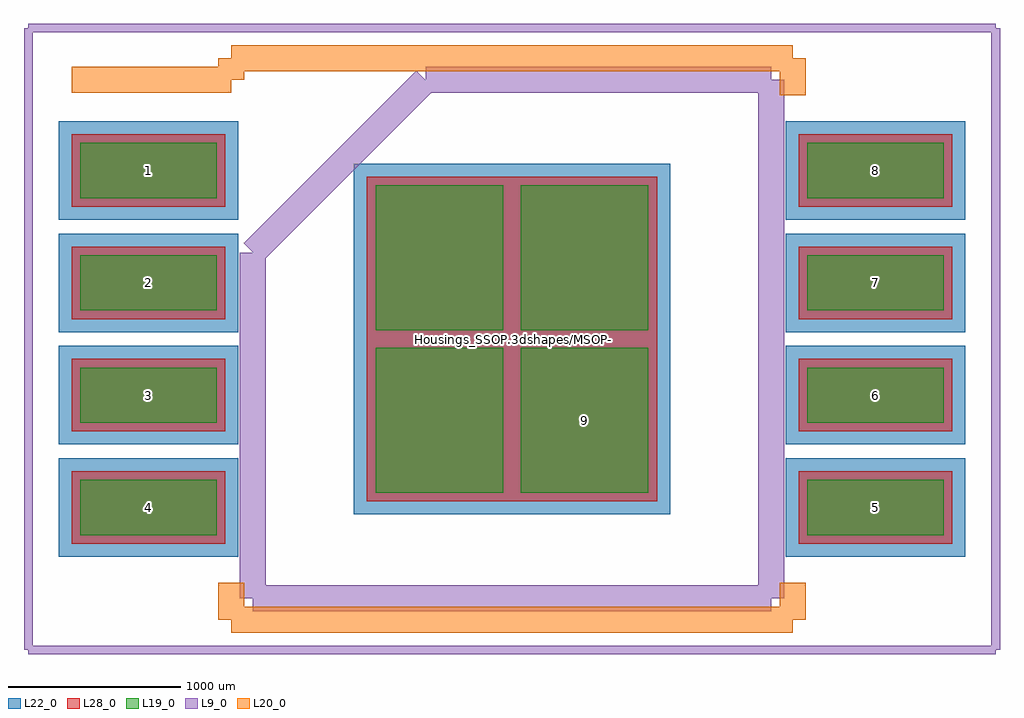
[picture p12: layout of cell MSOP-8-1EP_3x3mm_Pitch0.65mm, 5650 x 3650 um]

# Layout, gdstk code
import gdstk
lib = gdstk.Library(unit=1e-6, precision=1e-09)
def R(c, l, rs):  # rectangles x0, y0, x1, y1
    for r in rs: c.add(gdstk.rectangle(r[:2], r[2:], *l))
def A(c, l, x, y, w, h, nx, ny, dx, dy):  # array of equal rectangles
    R(c, l, [(x+i*dx, y+j*dy, x+i*dx+w, y+j*dy+h) for i in range(nx) for j in range(ny)])
L9_0 = (9, 0)
L19_0 = (19, 0)
L20_0 = (20, 0)
L22_0 = (22, 0)
L28_0 = (28, 0)

msop_8_1ep_3x3mm_pitch0_ = lib.new_cell('MSOP-8-1EP_3x3mm_Pitch0.65mm')
A(msop_8_1ep_3x3mm_pitch0_, L19_0, -2500, -1135, 790, 320, 1, 4, 0, 650)
A(msop_8_1ep_3x3mm_pitch0_, L19_0, 1710, -1135, 790, 320, 1, 4, 0, 650)
R(msop_8_1ep_3x3mm_pitch0_, L19_0, [(-790,-890,-50,-50), (50,-890,790,-50), (-790,50,-50,890), (50,50,790,890)])
A(msop_8_1ep_3x3mm_pitch0_, L22_0, -2625, -1260, 1040, 570, 1, 4, 0, 650)
A(msop_8_1ep_3x3mm_pitch0_, L22_0, 1585, -1260, 1040, 570, 1, 4, 0, 650)
R(msop_8_1ep_3x3mm_pitch0_, L22_0, [(-915,-1015,75,75), (-75,-1015,915,75), (-915,-75,75,1015), (-75,-75,915,1015)])
A(msop_8_1ep_3x3mm_pitch0_, L28_0, -2550, -1185, 890, 420, 1, 4, 0, 650)
A(msop_8_1ep_3x3mm_pitch0_, L28_0, 1660, -1185, 890, 420, 1, 4, 0, 650)
R(msop_8_1ep_3x3mm_pitch0_, L28_0, [(-840,-940,0,0), (0,-940,840,0), (-840,0,0,940), (0,0,840,940)])
msop_8_1ep_3x3mm_pitch0_.add(gdstk.FlexPath([(-1625,1500),(-2550,1500)], 149.998, ends="flush", simple_path=True, layer=20, datatype=0))  # L20_0
msop_8_1ep_3x3mm_pitch0_.add(gdstk.FlexPath([(-1625,-1625),(1625,-1625)], 149.998, ends="flush", simple_path=True, layer=20, datatype=0))  # L20_0
msop_8_1ep_3x3mm_pitch0_.add(gdstk.FlexPath([(-1625,1625),(1625,1625)], 149.998, ends="flush", simple_path=True, layer=20, datatype=0))  # L20_0
msop_8_1ep_3x3mm_pitch0_.add(gdstk.FlexPath([(-1625,-1625),(-1625,-1410)], 149.998, ends="flush", simple_path=True, layer=20, datatype=0))  # L20_0
msop_8_1ep_3x3mm_pitch0_.add(gdstk.FlexPath([(1625,-1625),(1625,-1410)], 149.998, ends="flush", simple_path=True, layer=20, datatype=0))  # L20_0
msop_8_1ep_3x3mm_pitch0_.add(gdstk.FlexPath([(1625,1625),(1625,1410)], 149.998, ends="flush", simple_path=True, layer=20, datatype=0))  # L20_0
msop_8_1ep_3x3mm_pitch0_.add(gdstk.FlexPath([(-1625,1625),(-1625,1500)], 149.998, ends="flush", simple_path=True, layer=20, datatype=0))  # L20_0
msop_8_1ep_3x3mm_pitch0_.add(gdstk.FlexPath([(-2800,-1800),(2800,-1800)], 50, ends="flush", simple_path=True, layer=9, datatype=0))  # L9_0
msop_8_1ep_3x3mm_pitch0_.add(gdstk.FlexPath([(-2800,1800),(2800,1800)], 50, ends="flush", simple_path=True, layer=9, datatype=0))  # L9_0
msop_8_1ep_3x3mm_pitch0_.add(gdstk.FlexPath([(2800,1800),(2800,-1800)], 50, ends="flush", simple_path=True, layer=9, datatype=0))  # L9_0
msop_8_1ep_3x3mm_pitch0_.add(gdstk.FlexPath([(-2800,1800),(-2800,-1800)], 50, ends="flush", simple_path=True, layer=9, datatype=0))  # L9_0
msop_8_1ep_3x3mm_pitch0_.add(gdstk.FlexPath([(-1500,500),(-500,1500)], 149.998, ends="flush", simple_path=True, layer=9, datatype=0))  # L9_0
msop_8_1ep_3x3mm_pitch0_.add(gdstk.FlexPath([(-1500,-1500),(-1500,500)], 149.998, ends="flush", simple_path=True, layer=9, datatype=0))  # L9_0
msop_8_1ep_3x3mm_pitch0_.add(gdstk.FlexPath([(1500,-1500),(-1500,-1500)], 149.998, ends="flush", simple_path=True, layer=9, datatype=0))  # L9_0
msop_8_1ep_3x3mm_pitch0_.add(gdstk.FlexPath([(1500,1500),(1500,-1500)], 149.998, ends="flush", simple_path=True, layer=9, datatype=0))  # L9_0
msop_8_1ep_3x3mm_pitch0_.add(gdstk.FlexPath([(-500,1500),(1500,1500)], 149.998, ends="flush", simple_path=True, layer=9, datatype=0))  # L9_0
msop_8_1ep_3x3mm_pitch0_.add(gdstk.Label('Housings_SSOP.3dshapes/MSOP-8-1EP_3x3mm_Pitch0.65mm.wrl', (0,0), layer=12, texttype=0))
msop_8_1ep_3x3mm_pitch0_.add(gdstk.Label('9', (420,-470), layer=28, texttype=0))
msop_8_1ep_3x3mm_pitch0_.add(gdstk.Label('8', (2105,975), layer=28, texttype=0))
msop_8_1ep_3x3mm_pitch0_.add(gdstk.Label('7', (2105,325), layer=28, texttype=0))
msop_8_1ep_3x3mm_pitch0_.add(gdstk.Label('6', (2105,-325), layer=28, texttype=0))
msop_8_1ep_3x3mm_pitch0_.add(gdstk.Label('5', (2105,-975), layer=28, texttype=0))
msop_8_1ep_3x3mm_pitch0_.add(gdstk.Label('4', (-2105,-975), layer=28, texttype=0))
msop_8_1ep_3x3mm_pitch0_.add(gdstk.Label('3', (-2105,-325), layer=28, texttype=0))
msop_8_1ep_3x3mm_pitch0_.add(gdstk.Label('2', (-2105,325), layer=28, texttype=0))
msop_8_1ep_3x3mm_pitch0_.add(gdstk.Label('1', (-2105,975), layer=28, texttype=0))
msop_8_1ep_3x3mm_pitch0_.add(gdstk.Label('type', (0,-2550), layer=9, texttype=0))
msop_8_1ep_3x3mm_pitch0_.add(gdstk.Label('devicename', (0,2550), layer=9, texttype=0))

lib.write_gds('MSOP-8-1EP_3x3mm_Pitch0.65mm.gds')
